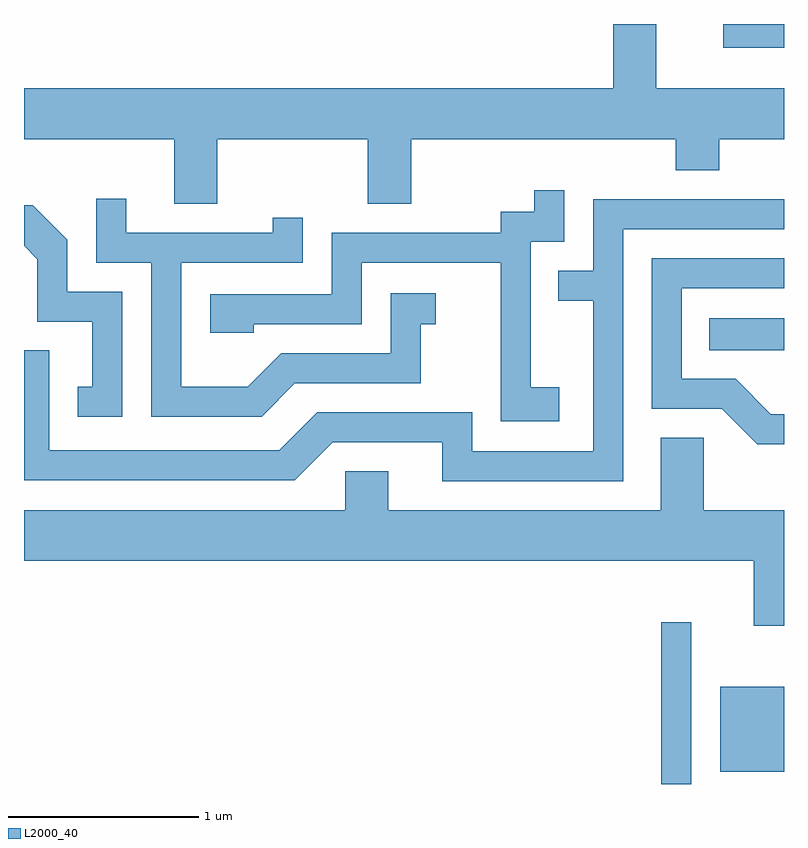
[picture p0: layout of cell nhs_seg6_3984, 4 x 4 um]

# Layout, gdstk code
import gdstk
lib = gdstk.Library(unit=1e-6, precision=1e-09)
def R(c, l, rs):  # rectangles x0, y0, x1, y1
    for r in rs: c.add(gdstk.rectangle(r[:2], r[2:], *l))
def P(c, l, *ps):  # polygons
    for p in ps: c.add(gdstk.Polygon(p, *l))
L2000_40 = (2000, 40)

nhs_seg6_3984 = lib.new_cell('nhs_seg6_3984')
R(nhs_seg6_3984, L2000_40, [(308.966,1582.162,309.124,1583.013), (309.276,1582.226,309.611,1582.674), (309.218,1584.446,309.611,1584.614), (309.291,1586.036,309.611,1586.162)])
P(nhs_seg6_3984, L2000_40, [(306.629,1585.556),(307.421,1585.556),(307.421,1585.216),(307.649,1585.216),(307.649,1585.556),(309.041,1585.556),(309.041,1585.391),(309.269,1585.391),(309.269,1585.556),(309.611,1585.556),(309.611,1585.824),(308.939,1585.824),(308.939,1586.162),(308.711,1586.162),(308.711,1585.824),(305.611,1585.824),(305.611,1585.556),(306.401,1585.556),(306.401,1585.216),(306.629,1585.216)],
  [(308.429,1584.249),(308.279,1584.249),(308.279,1585.016),(308.454,1585.016),(308.454,1585.288),(308.296,1585.288),(308.296,1585.174),(308.121,1585.174),(308.121,1585.064),(307.231,1585.064),(307.231,1584.739),(306.591,1584.739),(306.591,1584.536),(306.819,1584.536),(306.819,1584.581),(307.389,1584.581),(307.389,1584.906),(308.121,1584.906),(308.121,1584.071),(308.429,1584.071)],
  [(307.037,1584.271),(307.699,1584.271),(307.699,1584.581),(307.778,1584.581),(307.778,1584.744),(307.541,1584.744),(307.541,1584.429),(306.964,1584.429),(306.789,1584.254),(306.439,1584.254),(306.439,1584.906),(307.079,1584.906),(307.079,1585.143),(306.921,1585.143),(306.921,1585.064),(306.149,1585.064),(306.149,1585.243),(305.991,1585.243),(305.991,1584.906),(306.281,1584.906),(306.281,1584.096),(306.862,1584.096)],
  [(308.764,1585.081),(309.611,1585.081),(309.611,1585.239),(308.606,1585.239),(308.606,1584.864),(308.423,1584.864),(308.423,1584.706),(308.606,1584.706),(308.606,1583.914),(307.969,1583.914),(307.969,1584.119),(307.154,1584.119),(306.954,1583.919),(305.744,1583.919),(305.744,1584.444),(305.611,1584.444),(305.611,1583.761),(307.037,1583.761),(307.237,1583.961),(307.811,1583.961),(307.811,1583.756),(308.764,1583.756)],
  [(306.129,1584.754),(305.839,1584.754),(305.839,1585.027),(305.657,1585.209),(305.611,1585.209),(305.611,1584.994),(305.681,1584.924),(305.681,1584.596),(305.971,1584.596),(305.971,1584.254),(305.893,1584.254),(305.893,1584.096),(306.129,1584.096)],
  [(309.611,1584.109),(309.542,1584.109),(309.357,1584.294),(309.074,1584.294),(309.074,1584.771),(309.611,1584.771),(309.611,1584.929),(308.916,1584.929),(308.916,1584.136),(309.284,1584.136),(309.469,1583.951),(309.611,1583.951)],
  [(309.611,1583.604),(309.189,1583.604),(309.189,1583.984),(308.961,1583.984),(308.961,1583.604),(307.529,1583.604),(307.529,1583.809),(307.301,1583.809),(307.301,1583.604),(305.611,1583.604),(305.611,1583.336),(309.451,1583.336),(309.451,1582.996),(309.611,1582.996)])

lib.write_gds('nhs_seg6_3984.gds')
